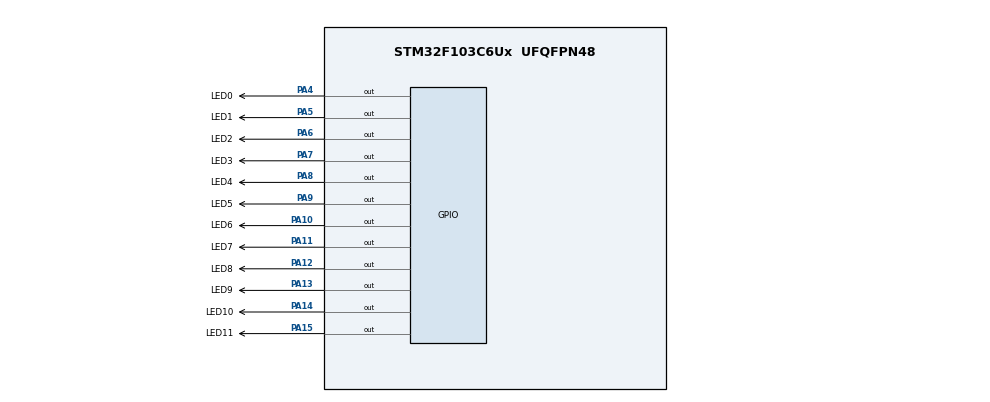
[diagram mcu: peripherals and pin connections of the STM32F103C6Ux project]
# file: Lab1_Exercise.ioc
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Mcu.Family=STM32F1
Mcu.Name=STM32F103C6Ux
Mcu.Package=UFQFPN48
NVIC.PriorityGroup=NVIC_PRIORITYGROUP_4
PA10.GPIO_Label=LED6
PA10.Signal=GPIO_Output
PA11.GPIO_Label=LED7
PA11.Signal=GPIO_Output
PA12.GPIO_Label=LED8
PA12.Signal=GPIO_Output
PA13.GPIO_Label=LED9
PA13.Signal=GPIO_Output
PA14.GPIO_Label=LED10
PA14.Signal=GPIO_Output
PA15.GPIO_Label=LED11
PA15.Signal=GPIO_Output
PA4.GPIO_Label=LED0
PA4.Signal=GPIO_Output
PA5.GPIO_Label=LED1
PA5.Signal=GPIO_Output
PA6.GPIO_Label=LED2
PA6.Signal=GPIO_Output
PA7.GPIO_Label=LED3
PA7.Signal=GPIO_Output
PA8.GPIO_Label=LED4
PA8.Signal=GPIO_Output
PA9.GPIO_Label=LED5
PA9.Signal=GPIO_Output
ProjectManager.HeapSize=0x200
ProjectManager.StackSize=0x400
ProjectManager.TargetToolchain=STM32CubeIDE
RCC.APB1Freq_Value=8000000
RCC.APB2Freq_Value=8000000
VP_SYS_VS_ND.Mode=No_Debug
board=custom

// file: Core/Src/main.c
/* USER CODE BEGIN Header */
/**
  ******************************************************************************
  * @file           : main.c
  * @brief          : Main program body
  ******************************************************************************
  * @attention
  *
  * <h2><center>&copy; Copyright (c) 2023 STMicroelectronics.
  * All rights reserved.</center></h2>
  *
  * This software component is licensed by ST under BSD 3-Clause license,
  * the "License"; You may not use this file except in compliance with the
  * License. You may obtain a copy of the License at:
  *                        opensource.org/licenses/BSD-3-Clause
  *
  ******************************************************************************
  */
/* USER CODE END Header */
#include "main.h"

void SystemClock_Config(void);
static void MX_GPIO_Init(void);
/* USER CODE BEGIN PFP */
void clearAllClock();
void setNumberOnClock(int num);
void clearNumberOnClock(int num);
/* USER CODE END PFP */

int main(void)
{

  /* MCU Configuration--------------------------------------------------------*/

  /* Reset of all peripherals, Initializes the Flash interface and the Systick. */
  HAL_Init();

  /* Configure the system clock */
  SystemClock_Config();

  /* Initialize all configured peripherals */
  MX_GPIO_Init();

  /* Infinite loop */
  /* USER CODE BEGIN WHILE */
  int h = 23, min = 49, sec = 0;
  while (1)
  {
	  if (sec == 60){
		  sec = 0;
		  min++;
	  }
	  if (min == 60){
		  min = 0;
		  h++;
	  }
	  if (h == 24){
		  h = 0;
	  }
	  setNumberOnClock(h/2);
	  setNumberOnClock(min/5);
	  setNumberOnClock(sec/5);
	  sec++;
	  HAL_Delay(1000);
	  clearAllClock();
    /* USER CODE END WHILE */

  }
}

void SystemClock_Config(void)
{
  RCC_OscInitTypeDef RCC_OscInitStruct = {0};
  RCC_ClkInitTypeDef RCC_ClkInitStruct = {0};

  /** Initializes the RCC Oscillators according to the specified parameters
  * in the RCC_OscInitTypeDef structure.
  */
  RCC_OscInitStruct.OscillatorType = RCC_OSCILLATORTYPE_HSI;
  RCC_OscInitStruct.HSIState = RCC_HSI_ON;
  RCC_OscInitStruct.HSICalibrationValue = RCC_HSICALIBRATION_DEFAULT;
  RCC_OscInitStruct.PLL.PLLState = RCC_PLL_NONE;
  if (HAL_RCC_OscConfig(&RCC_OscInitStruct) != HAL_OK)
  {
    Error_Handler();
  }
  /** Initializes the CPU, AHB and APB buses clocks
  */
  RCC_ClkInitStruct.ClockType = RCC_CLOCKTYPE_HCLK|RCC_CLOCKTYPE_SYSCLK
                              |RCC_CLOCKTYPE_PCLK1|RCC_CLOCKTYPE_PCLK2;
  RCC_ClkInitStruct.SYSCLKSource = RCC_SYSCLKSOURCE_HSI;
  RCC_ClkInitStruct.AHBCLKDivider = RCC_SYSCLK_DIV1;
  RCC_ClkInitStruct.APB1CLKDivider = RCC_HCLK_DIV1;
  RCC_ClkInitStruct.APB2CLKDivider = RCC_HCLK_DIV1;

  if (HAL_RCC_ClockConfig(&RCC_ClkInitStruct, FLASH_LATENCY_0) != HAL_OK)
  {
    Error_Handler();
  }
}

static void MX_GPIO_Init(void)
{
  GPIO_InitTypeDef GPIO_InitStruct = {0};

  /* GPIO Ports Clock Enable */
  __HAL_RCC_GPIOA_CLK_ENABLE();

  /*Configure GPIO pin Output Level */
  HAL_GPIO_WritePin(GPIOA, LED0_Pin|LED1_Pin|LED2_Pin|LED3_Pin
                          |LED4_Pin|LED5_Pin|LED6_Pin|LED7_Pin
                          |LED8_Pin|LED9_Pin|LED10_Pin|LED11_Pin, GPIO_PIN_RESET);

  /*Configure GPIO pins : LED0_Pin LED1_Pin LED2_Pin LED3_Pin
                           LED4_Pin LED5_Pin LED6_Pin LED7_Pin
                           LED8_Pin LED9_Pin LED10_Pin LED11_Pin */
  GPIO_InitStruct.Pin = LED0_Pin|LED1_Pin|LED2_Pin|LED3_Pin
                          |LED4_Pin|LED5_Pin|LED6_Pin|LED7_Pin
                          |LED8_Pin|LED9_Pin|LED10_Pin|LED11_Pin;
  GPIO_InitStruct.Mode = GPIO_MODE_OUTPUT_PP;
  GPIO_InitStruct.Pull = GPIO_NOPULL;
  GPIO_InitStruct.Speed = GPIO_SPEED_FREQ_LOW;
  HAL_GPIO_Init(GPIOA, &GPIO_InitStruct);

}

/* USER CODE BEGIN 4 */
uint16_t LED_PIN[] = {LED0_Pin, LED1_Pin, LED2_Pin, LED3_Pin, LED4_Pin, LED5_Pin, LED6_Pin, LED7_Pin, LED8_Pin, LED9_Pin, LED10_Pin, LED11_Pin};
void clearAllClock(){
	for (int i = 0; i < 12; i++){
		HAL_GPIO_WritePin(GPIOA, LED_PIN[i], RESET);
	}
}
void setNumberOnClock(int num){
	HAL_GPIO_WritePin(GPIOA, LED_PIN[num], SET);
}
void clearNumberOnClock(int num){
	HAL_GPIO_WritePin(GPIOA, LED_PIN[num], RESET);
}
/* USER CODE END 4 */

void Error_Handler(void)
{
  __disable_irq();
  while (1)
  {
  }
}

/************************ (C) COPYRIGHT STMicroelectronics *****END OF FILE****/
